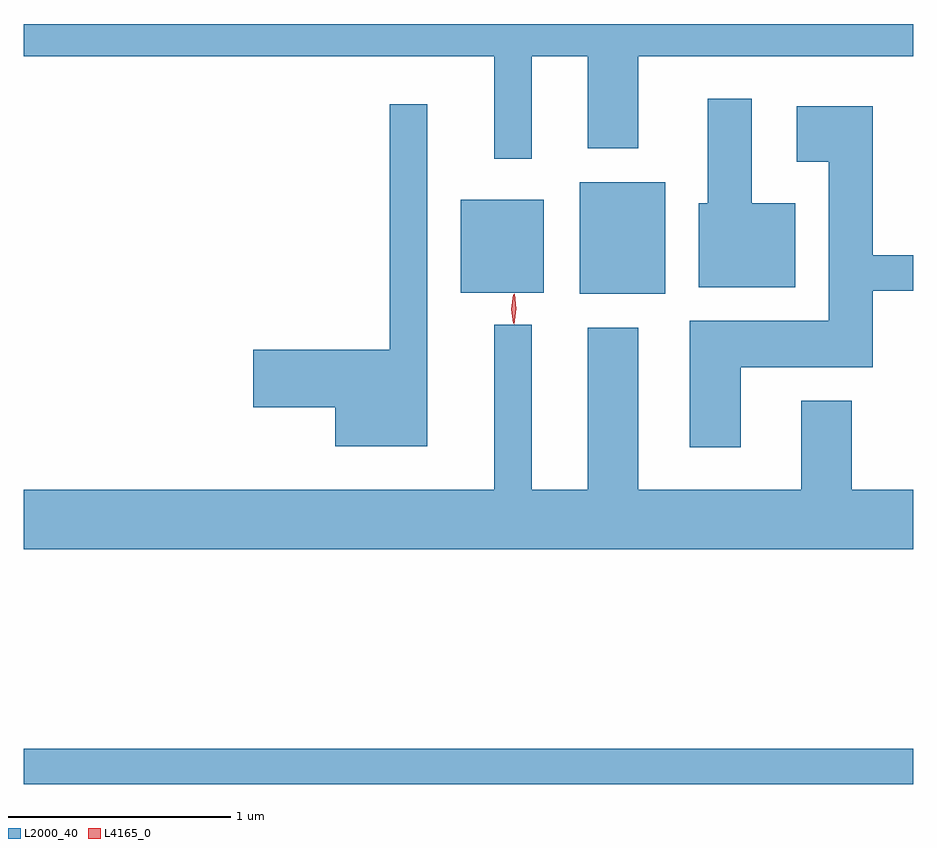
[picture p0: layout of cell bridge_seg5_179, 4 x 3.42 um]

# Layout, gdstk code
import gdstk
lib = gdstk.Library(unit=1e-6, precision=1e-09)
def R(c, l, rs):  # rectangles x0, y0, x1, y1
    for r in rs: c.add(gdstk.rectangle(r[:2], r[2:], *l))
def P(c, l, *ps):  # polygons
    for p in ps: c.add(gdstk.Polygon(p, *l))
L2000_40 = (2000, 40)
L4165_0 = (4165, 0)

bridge_seg5_179 = lib.new_cell('bridge_seg5_179')
R(bridge_seg5_179, L2000_40, [(1235.835,1393.581,1239.835,1393.739), (1238.336,1395.786,1238.719,1396.289), (1237.801,1395.791,1238.174,1396.209)])
P(bridge_seg5_179, L2000_40, [(1238.119,1396.856),(1238.371,1396.856),(1238.371,1396.441),(1238.599,1396.441),(1238.599,1396.856),(1239.835,1396.856),(1239.835,1397),(1235.835,1397),(1235.835,1396.856),(1237.951,1396.856),(1237.951,1396.393),(1238.119,1396.393)],
  [(1239.304,1396.194),(1239.109,1396.194),(1239.109,1396.664),(1238.911,1396.664),(1238.911,1396.194),(1238.871,1396.194),(1238.871,1395.816),(1239.304,1395.816)],
  [(1237.649,1396.638),(1237.481,1396.638),(1237.481,1395.534),(1236.866,1395.534),(1236.866,1395.276),(1237.236,1395.276),(1237.236,1395.101),(1237.649,1395.101)],
  [(1239.059,1395.456),(1239.654,1395.456),(1239.654,1395.801),(1239.835,1395.801),(1239.835,1395.959),(1239.654,1395.959),(1239.654,1396.629),(1239.311,1396.629),(1239.311,1396.381),(1239.456,1396.381),(1239.456,1395.664),(1238.831,1395.664),(1238.831,1395.096),(1239.059,1395.096)],
  [(1239.835,1394.904),(1239.559,1394.904),(1239.559,1395.304),(1239.331,1395.304),(1239.331,1394.904),(1238.599,1394.904),(1238.599,1395.634),(1238.371,1395.634),(1238.371,1394.904),(1238.119,1394.904),(1238.119,1395.648),(1237.951,1395.648),(1237.951,1394.904),(1235.835,1394.904),(1235.835,1394.636),(1239.835,1394.636)])
P(bridge_seg5_179, L4165_0, [(1238.037,1395.653),(1238.027,1395.717),(1238.037,1395.782),(1238.038,1395.782),(1238.038,1395.782),(1238.048,1395.717),(1238.038,1395.653),(1238.038,1395.653)],
  [(1238.04,1395.649),(1238.04,1395.65),(1238.03,1395.718),(1238.04,1395.785),(1238.041,1395.786),(1238.042,1395.785),(1238.05,1395.718),(1238.04,1395.65)])

lib.write_gds('bridge_seg5_179.gds')
